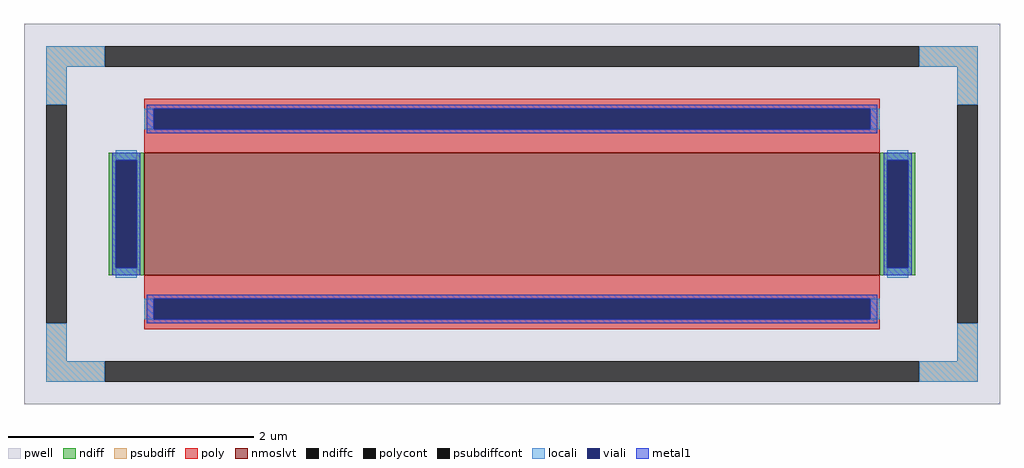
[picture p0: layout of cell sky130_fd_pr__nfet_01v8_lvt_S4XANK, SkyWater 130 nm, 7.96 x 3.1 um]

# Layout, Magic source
magic
tech sky130A
<< pwell >>
rect -398 -155 398 155
<< nmoslvt >>
rect -300 -50 300 50
<< ndiff >>
rect -329 44 -300 50
rect -329 -44 -323 44
rect -306 -44 -300 44
rect -329 -50 -300 -44
rect 300 44 329 50
rect 300 -44 306 44
rect 323 -44 329 44
rect 300 -50 329 -44
<< ndiffc >>
rect -323 -44 -306 44
rect 306 -44 323 44
<< psubdiff >>
rect -380 120 -332 137
rect 332 120 380 137
rect -380 89 -363 120
rect 363 89 380 120
rect -380 -120 -363 -89
rect 363 -120 380 -89
rect -380 -137 -332 -120
rect 332 -137 380 -120
<< psubdiffcont >>
rect -332 120 332 137
rect -380 -89 -363 89
rect 363 -89 380 89
rect -332 -137 332 -120
<< poly >>
rect -300 86 300 94
rect -300 69 -292 86
rect 292 69 300 86
rect -300 50 300 69
rect -300 -69 300 -50
rect -300 -86 -292 -69
rect 292 -86 300 -69
rect -300 -94 300 -86
<< polycont >>
rect -292 69 292 86
rect -292 -86 292 -69
<< locali >>
rect -380 120 -332 137
rect 332 120 380 137
rect -380 89 -363 120
rect 363 89 380 120
rect -300 69 -292 86
rect 292 69 300 86
rect -323 44 -306 52
rect -323 -52 -306 -44
rect 306 44 323 52
rect 306 -52 323 -44
rect -300 -86 -292 -69
rect 292 -86 300 -69
rect -380 -120 -363 -89
rect 363 -120 380 -89
rect -380 -137 -332 -120
rect 332 -137 380 -120
<< viali >>
rect -292 69 292 86
rect -323 -44 -306 44
rect 306 -44 323 44
rect -292 -86 292 -69
<< metal1 >>
rect -298 86 298 89
rect -298 69 -292 86
rect 292 69 298 86
rect -298 66 298 69
rect -326 44 -303 50
rect -326 -44 -323 44
rect -306 -44 -303 44
rect -326 -50 -303 -44
rect 303 44 326 50
rect 303 -44 306 44
rect 323 -44 326 44
rect 303 -50 326 -44
rect -298 -69 298 -66
rect -298 -86 -292 -69
rect 292 -86 298 -69
rect -298 -89 298 -86
<< properties >>
string FIXED_BBOX -371 -128 371 128
string gencell sky130_fd_pr__nfet_01v8_lvt
string library sky130
string parameters w 1.0 l 6.0 m 1 nf 1 diffcov 100 polycov 100 guard 1 glc 1 grc 1 gtc 1 gbc 1 tbcov 100 rlcov 100 topc 1 botc 1 poverlap 0 doverlap 1 lmin 0.15 wmin 0.42 compatible {sky130_fd_pr__nfet_01v8 sky130_fd_pr__nfet_01v8_lvt  sky130_fd_bs_flash__special_sonosfet_star  sky130_fd_pr__nfet_g5v0d10v5 sky130_fd_pr__nfet_05v0_nvt  sky130_fd_pr__nfet_03v3_nvt} full_metal 1 viasrc 100 viadrn 100 viagate 100 viagb 0 viagr 0 viagl 0 viagt 0
<< end >>
